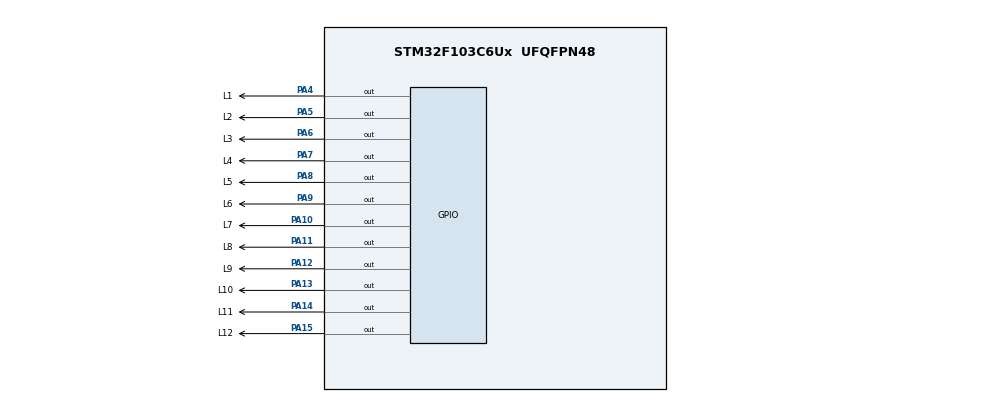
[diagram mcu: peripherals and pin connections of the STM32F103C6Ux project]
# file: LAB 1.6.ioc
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Mcu.Family=STM32F1
Mcu.Name=STM32F103C6Ux
Mcu.Package=UFQFPN48
NVIC.PriorityGroup=NVIC_PRIORITYGROUP_4
PA10.GPIO_Label=L7
PA10.Signal=GPIO_Output
PA11.GPIO_Label=L8
PA11.Signal=GPIO_Output
PA12.GPIO_Label=L9
PA12.Signal=GPIO_Output
PA13.GPIO_Label=L10
PA13.Signal=GPIO_Output
PA14.GPIO_Label=L11
PA14.Signal=GPIO_Output
PA15.GPIO_Label=L12
PA15.Signal=GPIO_Output
PA4.GPIO_Label=L1
PA4.Signal=GPIO_Output
PA5.GPIO_Label=L2
PA5.Signal=GPIO_Output
PA6.GPIO_Label=L3
PA6.Signal=GPIO_Output
PA7.GPIO_Label=L4
PA7.Signal=GPIO_Output
PA8.GPIO_Label=L5
PA8.Signal=GPIO_Output
PA9.GPIO_Label=L6
PA9.Signal=GPIO_Output
ProjectManager.HeapSize=0x200
ProjectManager.StackSize=0x400
ProjectManager.TargetToolchain=STM32CubeIDE
RCC.APB1Freq_Value=8000000
RCC.APB2Freq_Value=8000000
VP_SYS_VS_ND.Mode=No_Debug
board=custom

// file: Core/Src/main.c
/* USER CODE BEGIN Header */
/**
  ******************************************************************************
  * @file           : main.c
  * @brief          : Main program body
  ******************************************************************************
  * @attention
  *
  * <h2><center>&copy; Copyright (c) 2025 STMicroelectronics.
  * All rights reserved.</center></h2>
  *
  * This software component is licensed by ST under BSD 3-Clause license,
  * the "License"; You may not use this file except in compliance with the
  * License. You may obtain a copy of the License at:
  *                        opensource.org/licenses/BSD-3-Clause
  *
  ******************************************************************************
  */
/* USER CODE END Header */
#include "main.h"

void SystemClock_Config(void);
static void MX_GPIO_Init(void);

void clearALLClock();
void setNumberOnClock(int num);
void clearNumberOnClock(int num);
int main(void)
{

  /* MCU Configuration--------------------------------------------------------*/

  /* Reset of all peripherals, Initializes the Flash interface and the Systick. */
  HAL_Init();

  /* Configure the system clock */
  SystemClock_Config();

  /* Initialize all configured peripherals */
  MX_GPIO_Init();
  /* USER CODE BEGIN 2 */
 clearAllClock();
  /* USER CODE END 2 */
int second = 3;
int minute = 43;
int hour = 6;
  /* Infinite loop */
  /* USER CODE BEGIN WHILE */
  while (1)
  {
	  clearAllClock();

	  	  second++;
	  	  if (second >= 60){
	  		  second = 0;
	  		  minute ++;
	  	  }
	  	  if (minute >= 60){
	  		  minute = 0;
	  		  hour ++;
	  	  }
	  	  if (hour == 12){
	  		  hour = 0;
	  	 }
	  	  setNumberOnClock(second/5);
	  	  setNumberOnClock(minute/5);
	  	  setNumberOnClock(hour);
	  	  HAL_Delay(1000);
    /* USER CODE END WHILE */

  }
}
void clearAllClock(){
	HAL_GPIO_WritePin(L1_GPIO_Port, L1_Pin, 1);
	HAL_GPIO_WritePin(L1_GPIO_Port, L2_Pin, 1);
	HAL_GPIO_WritePin(L1_GPIO_Port, L3_Pin, 1);
	HAL_GPIO_WritePin(L1_GPIO_Port, L4_Pin, 1);
	HAL_GPIO_WritePin(L1_GPIO_Port, L5_Pin, 1);
	HAL_GPIO_WritePin(L1_GPIO_Port, L6_Pin, 1);
	HAL_GPIO_WritePin(L1_GPIO_Port, L7_Pin, 1);
	HAL_GPIO_WritePin(L1_GPIO_Port, L8_Pin, 1);
	HAL_GPIO_WritePin(L1_GPIO_Port, L9_Pin, 1);
 	HAL_GPIO_WritePin(L1_GPIO_Port, L10_Pin, 1);
 	HAL_GPIO_WritePin(L1_GPIO_Port, L11_Pin, 1);
 	HAL_GPIO_WritePin(L1_GPIO_Port, L12_Pin, 1);

}

void setNumberOnClock(int num){
	if (num==0) HAL_GPIO_WritePin(L1_GPIO_Port, L1_Pin, 0);
	if (num==1) HAL_GPIO_WritePin(L1_GPIO_Port, L2_Pin, 0);
	if (num==2) HAL_GPIO_WritePin(L1_GPIO_Port, L3_Pin, 0);
	if (num==3) HAL_GPIO_WritePin(L1_GPIO_Port, L4_Pin, 0);
	if (num==4) HAL_GPIO_WritePin(L1_GPIO_Port, L5_Pin, 0);
	if (num==5) HAL_GPIO_WritePin(L1_GPIO_Port, L6_Pin, 0);
	if (num==6) HAL_GPIO_WritePin(L1_GPIO_Port, L7_Pin, 0);
	if (num==7) HAL_GPIO_WritePin(L1_GPIO_Port, L8_Pin, 0);
	if (num==8) HAL_GPIO_WritePin(L1_GPIO_Port, L9_Pin, 0);
	if (num==9) HAL_GPIO_WritePin(L1_GPIO_Port, L10_Pin, 0);
	if (num==10) HAL_GPIO_WritePin(L1_GPIO_Port, L11_Pin, 0);
	if (num==11) HAL_GPIO_WritePin(L1_GPIO_Port, L12_Pin, 0);
}
void clearNumberOnClock(int num){
	if (num==0) HAL_GPIO_WritePin(L1_GPIO_Port, L1_Pin, 1);
	if (num==1) HAL_GPIO_WritePin(L1_GPIO_Port, L2_Pin, 1);
	if (num==2) HAL_GPIO_WritePin(L1_GPIO_Port, L3_Pin, 1);
	if (num==3) HAL_GPIO_WritePin(L1_GPIO_Port, L4_Pin, 1);
	if (num==4) HAL_GPIO_WritePin(L1_GPIO_Port, L5_Pin, 1);
	if (num==5) HAL_GPIO_WritePin(L1_GPIO_Port, L6_Pin, 1);
	if (num==6) HAL_GPIO_WritePin(L1_GPIO_Port, L7_Pin, 1);
	if (num==7) HAL_GPIO_WritePin(L1_GPIO_Port, L8_Pin, 1);
	if (num==8) HAL_GPIO_WritePin(L1_GPIO_Port, L9_Pin, 1);
	if (num==9) HAL_GPIO_WritePin(L1_GPIO_Port, L10_Pin, 1);
	if (num==10) HAL_GPIO_WritePin(L1_GPIO_Port, L11_Pin, 1);
	if (num==11) HAL_GPIO_WritePin(L1_GPIO_Port, L12_Pin, 1);
}

void SystemClock_Config(void)
{
  RCC_OscInitTypeDef RCC_OscInitStruct = {0};
  RCC_ClkInitTypeDef RCC_ClkInitStruct = {0};

  /** Initializes the RCC Oscillators according to the specified parameters
  * in the RCC_OscInitTypeDef structure.
  */
  RCC_OscInitStruct.OscillatorType = RCC_OSCILLATORTYPE_HSI;
  RCC_OscInitStruct.HSIState = RCC_HSI_ON;
  RCC_OscInitStruct.HSICalibrationValue = RCC_HSICALIBRATION_DEFAULT;
  RCC_OscInitStruct.PLL.PLLState = RCC_PLL_NONE;
  if (HAL_RCC_OscConfig(&RCC_OscInitStruct) != HAL_OK)
  {
    Error_Handler();
  }
  /** Initializes the CPU, AHB and APB buses clocks
  */
  RCC_ClkInitStruct.ClockType = RCC_CLOCKTYPE_HCLK|RCC_CLOCKTYPE_SYSCLK
                              |RCC_CLOCKTYPE_PCLK1|RCC_CLOCKTYPE_PCLK2;
  RCC_ClkInitStruct.SYSCLKSource = RCC_SYSCLKSOURCE_HSI;
  RCC_ClkInitStruct.AHBCLKDivider = RCC_SYSCLK_DIV1;
  RCC_ClkInitStruct.APB1CLKDivider = RCC_HCLK_DIV1;
  RCC_ClkInitStruct.APB2CLKDivider = RCC_HCLK_DIV1;

  if (HAL_RCC_ClockConfig(&RCC_ClkInitStruct, FLASH_LATENCY_0) != HAL_OK)
  {
    Error_Handler();
  }
}

static void MX_GPIO_Init(void)
{
  GPIO_InitTypeDef GPIO_InitStruct = {0};

  /* GPIO Ports Clock Enable */
  __HAL_RCC_GPIOA_CLK_ENABLE();

  /*Configure GPIO pin Output Level */
  HAL_GPIO_WritePin(GPIOA, L1_Pin|L2_Pin|L3_Pin|L4_Pin
                          |L5_Pin|L6_Pin|L7_Pin|L8_Pin
                          |L9_Pin|L10_Pin|L11_Pin|L12_Pin, GPIO_PIN_RESET);

  /*Configure GPIO pins : L1_Pin L2_Pin L3_Pin L4_Pin
                           L5_Pin L6_Pin L7_Pin L8_Pin
                           L9_Pin L10_Pin L11_Pin L12_Pin */
  GPIO_InitStruct.Pin = L1_Pin|L2_Pin|L3_Pin|L4_Pin
                          |L5_Pin|L6_Pin|L7_Pin|L8_Pin
                          |L9_Pin|L10_Pin|L11_Pin|L12_Pin;
  GPIO_InitStruct.Mode = GPIO_MODE_OUTPUT_PP;
  GPIO_InitStruct.Pull = GPIO_NOPULL;
  GPIO_InitStruct.Speed = GPIO_SPEED_FREQ_LOW;
  HAL_GPIO_Init(GPIOA, &GPIO_InitStruct);

}

void Error_Handler(void)
{
  __disable_irq();
  while (1)
  {
  }
}

/************************ (C) COPYRIGHT STMicroelectronics *****END OF FILE****/
